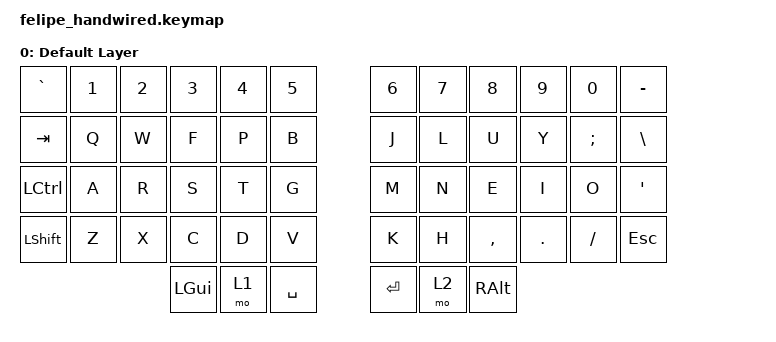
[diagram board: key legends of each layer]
/*
 * Copyright (c) 2020 The ZMK Contributors
 *
 * SPDX-License-Identifier: MIT
 */

#include <behaviors.dtsi>
#include <dt-bindings/zmk/keys.h>
#include <dt-bindings/zmk/bt.h>

/ {
        keymap {
                compatible = "zmk,keymap";

                default_layer {
                        display-name = "Default Layer";
// -----------------------------------------------------------------------------------------
// |  TAB |  Q  |  W  |  E  |  R  |  T  |   |  Y  |  U   |  I  |  O  |  P  | BSPC |
// | CTRL |  A  |  S  |  D  |  F  |  G  |   |  H  |  J   |  K  |  L  |  ;  |  '   |
// | SHFT |  Z  |  X  |  C  |  V  |  B  |   |  N  |  M   |  ,  |  .  |  /  | ESC  |
//                    | GUI | LWR | SPC |   | ENT | RSE  | ALT |
                        bindings = <
   &kp `     &kp 1 &kp 2 &kp 3 &kp 4 &kp 5   &kp 6 &kp 7  &kp 8     &kp 9    &kp 0    &kp -
   &kp TAB   &kp Q &kp W &kp F &kp P &kp B   &kp J &kp L  &kp U     &kp Y    &kp SEMI &kp BSLH
   &kp LCTRL &kp A &kp R &kp S &kp T &kp G   &kp M &kp N  &kp E     &kp I    &kp O    &kp SQT
   &kp LSHFT &kp Z &kp X &kp C &kp D &kp V   &kp K &kp H  &kp COMMA &kp DOT  &kp FSLH &kp ESC
                  &kp LGUI &mo 1 &kp SPACE   &kp RET &mo 2 &kp RALT
                        >;
                };
        };
};
